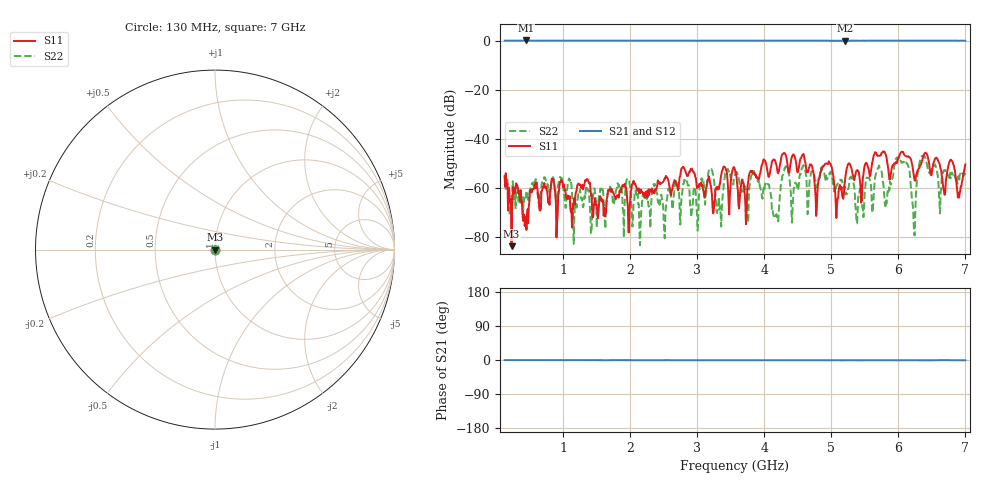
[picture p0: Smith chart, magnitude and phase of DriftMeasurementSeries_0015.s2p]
# Hz S RI R 50.000000
! Metas.Vna.Tools, 2.8.8664.20301
! Metas.Vna.Data, 2.8.8664.20285
! Created: UTC 2024.02.11 10:08:10
! FREQ  re:S1,1  im:S1,1  re:S2,1  im:S2,1  re:S1,2  im:S1,2  re:S2,2  im:S2,2
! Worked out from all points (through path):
!   801 points, 130 MHz to 7 GHz, reference 50 ohm
!   highest |S21| = 0.04 dB at 447.7 MHz (marker M1); lowest = -0.1 dB at 5.205 GHz (marker M2)
!   lowest |S11| = -83.9 dB at 233.1 MHz (marker M3), VSWR 1.00, Z = 50 + j0.00638 ohm
!   |S11| at or under -10 dB: start of sweep to end of sweep
!   |S22| runs from -83.5 to -46.9 dB; largest |S21 - S12| = 0.0098
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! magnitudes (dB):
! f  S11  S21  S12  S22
! 130 MHz  -55.3  0.0  0.0  -55.1
! 233.1 MHz  -83.9  0.0  0.0  -68.4
! 447.7 MHz  -74.0  0.0  0.0  -64.1
! 576.5 MHz  -58.8  0.0  0.0  -58.1
! 1.281 GHz  -59.5  0.0  0.0  -64.2
! 2.423 GHz  -57.9  0.0  0.0  -66.3
! 3.007 GHz  -59.6  -0.1  0.0  -77.6
! 3.204 GHz  -59.1  0.0  0.0  -52.5
! 3.333 GHz  -59.2  0.0  0.0  -69.0
! 3.565 GHz  -52.8  0.0  0.0  -54.8
! 3.72 GHz  -66.7  -0.1  0.0  -59.5
! 3.857 GHz  -54.6  0.0  0.0  -54.0
! 4.175 GHz  -50.2  0.0  0.0  -71.7
! 4.312 GHz  -46.2  0.0  0.0  -52.2
! 4.424 GHz  -46.9  0.0  0.0  -68.1
! 4.716 GHz  -51.4  0.0  0.0  -53.3
! 5.205 GHz  -57.0  -0.1  0.0  -59.7
! 5.858 GHz  -54.3  0.0  0.0  -59.9
! 5.995 GHz  -48.5  0.0  0.0  -47.7
! 6.227 GHz  -54.4  0.0  0.0  -72.8
! 6.365 GHz  -48.0  -0.1  0.0  -47.2
! 7 GHz  -50.5  -0.1  0.0  -54.7
